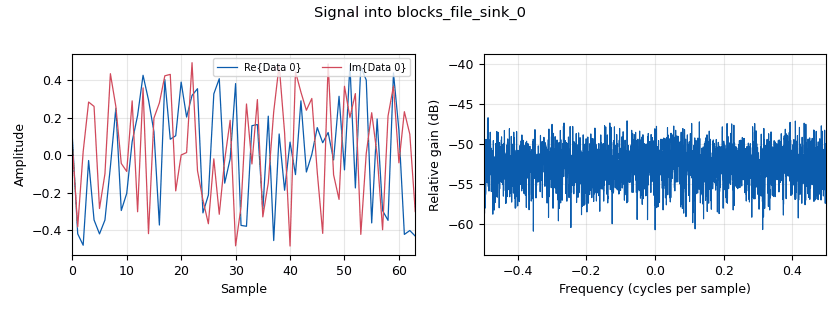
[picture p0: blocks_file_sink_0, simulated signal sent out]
options:
  parameters:
    generate_options: no_gui
    id: noise_only
    output_language: python
    run_options: run
    title: Noise source only
  states: {}

blocks:
- name: samp_rate
  id: variable
  parameters:
    value: '32000'
  states: {}
- name: amplitude
  id: parameter
  parameters:
    label: Noise amplitude
    value: '0.7'
  states: {}
- name: analog_noise_source_x_0
  id: analog_noise_source_x
  parameters:
    amp: amplitude
    noise_type: analog.GR_UNIFORM
    seed: seed
    type: complex
  states: {}
- name: blocks_file_sink_0
  id: blocks_file_sink
  parameters:
    file: filename
    type: complex
  states: {}
- name: blocks_head_0
  id: blocks_head
  parameters:
    num_items: num_samples
    type: complex
  states: {}
- name: blocks_throttle_0
  id: blocks_throttle
  parameters:
    samples_per_second: samp_rate
    type: complex
  states: {}
- name: filename
  id: parameter
  parameters:
    label: File name
    type: str
    value: filename.bin
  states: {}
- name: num_samples
  id: parameter
  parameters:
    label: Number of samples
    value: '100000'
  states: {}
- name: qtgui_time_sink_x_0
  id: qtgui_time_sink_x
  parameters:
    size: '1024'
    srate: samp_rate
    type: complex
    ylabel: '1.0'
  states: {state: disabled}
- name: seed
  id: parameter
  parameters:
    label: Noise seed
    value: '0'
  states: {}

connections:
- [analog_noise_source_x_0, '0', blocks_throttle_0, '0']
- [blocks_head_0, '0', blocks_file_sink_0, '0']
- [blocks_head_0, '0', qtgui_time_sink_x_0, '0']
- [blocks_throttle_0, '0', blocks_head_0, '0']
- [blocks_throttle_0, '0', qtgui_time_sink_x_0, '0']

metadata:
  file_format: 1
